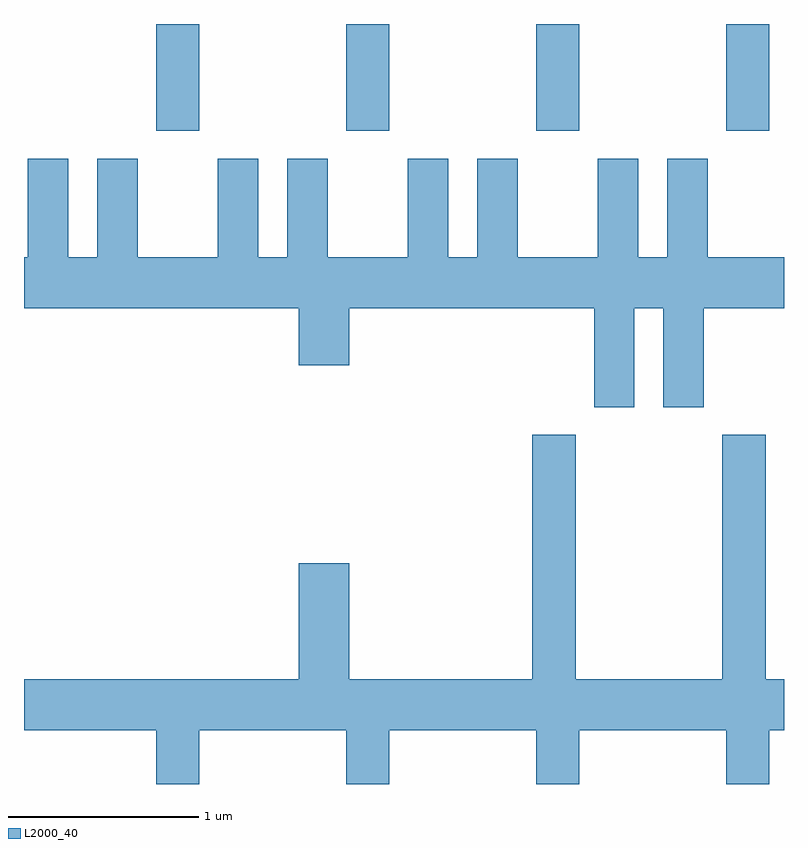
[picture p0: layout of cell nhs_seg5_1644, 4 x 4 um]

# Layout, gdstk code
import gdstk
lib = gdstk.Library(unit=1e-6, precision=1e-09)
def R(c, l, rs):  # rectangles x0, y0, x1, y1
    for r in rs: c.add(gdstk.rectangle(r[:2], r[2:], *l))
def A(c, l, x, y, w, h, nx, ny, dx, dy):  # array of equal rectangles
    R(c, l, [(x+i*dx, y+j*dy, x+i*dx+w, y+j*dy+h) for i in range(nx) for j in range(ny)])
def P(c, l, *ps):  # polygons
    for p in ps: c.add(gdstk.Polygon(p, *l))
L2000_40 = (2000, 40)

nhs_seg5_1644 = lib.new_cell('nhs_seg5_1644')
A(nhs_seg5_1644, L2000_40, 234.306, 1455.511, 0.228, 0.561, 4, 1, 1, 0)
P(nhs_seg5_1644, L2000_40, [(236.824,1454.576),(236.976,1454.576),(236.976,1454.056),(237.189,1454.056),(237.189,1454.576),(237.611,1454.576),(237.611,1454.844),(237.209,1454.844),(237.209,1455.364),(236.996,1455.364),(236.996,1454.844),(236.844,1454.844),(236.844,1455.364),(236.631,1455.364),(236.631,1454.844),(236.209,1454.844),(236.209,1455.364),(235.996,1455.364),(235.996,1454.844),(235.844,1454.844),(235.844,1455.364),(235.631,1455.364),(235.631,1454.844),(235.209,1454.844),(235.209,1455.364),(234.996,1455.364),(234.996,1454.844),(234.844,1454.844),(234.844,1455.364),(234.631,1455.364),(234.631,1454.844),(234.209,1454.844),(234.209,1455.364),(233.996,1455.364),(233.996,1454.844),(233.844,1454.844),(233.844,1455.364),(233.631,1455.364),(233.631,1454.844),(233.611,1454.844),(233.611,1454.576),(235.056,1454.576),(235.056,1454.276),(235.324,1454.276),(235.324,1454.576),(236.611,1454.576),(236.611,1454.056),(236.824,1454.056)],
  [(234.534,1452.356),(235.306,1452.356),(235.306,1452.072),(235.534,1452.072),(235.534,1452.356),(236.306,1452.356),(236.306,1452.072),(236.534,1452.072),(236.534,1452.356),(237.306,1452.356),(237.306,1452.072),(237.534,1452.072),(237.534,1452.356),(237.611,1452.356),(237.611,1452.624),(237.514,1452.624),(237.514,1453.909),(237.286,1453.909),(237.286,1452.624),(236.514,1452.624),(236.514,1453.909),(236.286,1453.909),(236.286,1452.624),(235.324,1452.624),(235.324,1453.234),(235.056,1453.234),(235.056,1452.624),(233.611,1452.624),(233.611,1452.356),(234.306,1452.356),(234.306,1452.072),(234.534,1452.072)])

lib.write_gds('nhs_seg5_1644.gds')
